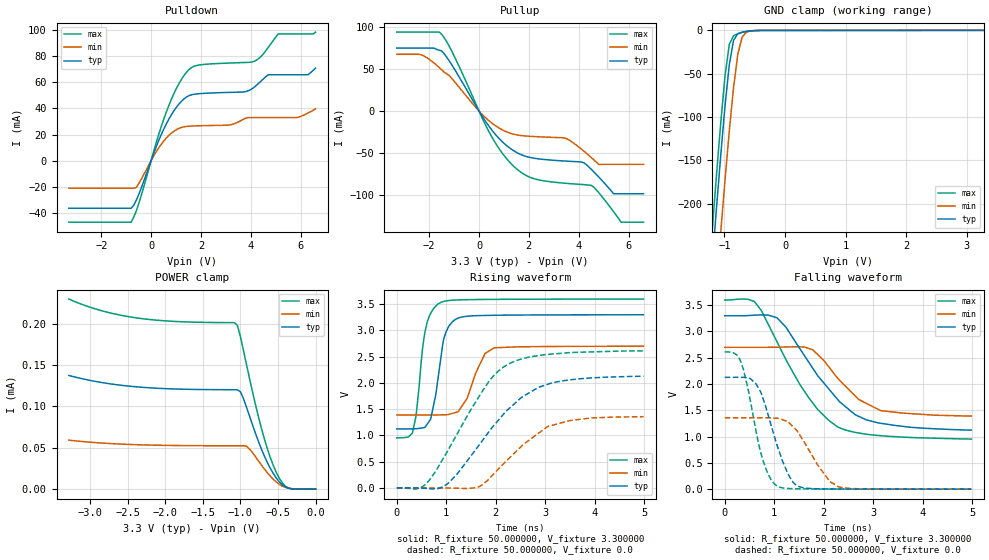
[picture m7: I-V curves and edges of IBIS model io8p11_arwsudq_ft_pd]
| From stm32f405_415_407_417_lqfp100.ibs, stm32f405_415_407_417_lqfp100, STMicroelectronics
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|   Model io8p11_arwsudq_ft_pd
[Model]  io8p11_arwsudq_ft_pd
Model_type I/O
Polarity   Non-Inverting
Enable   Active-Low
Vinl =   0.990000V
Vinh =   2.310000V
Vmeas =  1.650000V
Cref =   30.000000pF
Rref =   100.000000M
Vref =   0.0V
C_comp   2.905500pF   2.831700pF   2.987900pF
[Temperature Range]   25.000000   0.125000k   -40.000000
[Pullup Reference]   3.300000V   2.700000V   3.600000V
[Pulldown Reference]   0.0V   0.0V   0.0V
[POWER Clamp Reference]   3.300000V   2.700000V   3.600000V
[GND Clamp Reference]   0.0V   0.0V   0.0V
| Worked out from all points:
|   slope of the pulldown table from 0 to 0.495 V, typ, clamps not added: 20.9 ohm
|   slope of the pullup table from 0 to 0.495 V, typ, clamps not added: 22.6 ohm
|   GND clamp passes 1 mA (typ) near -0.62 V on its own axis
|   rising waveform, R_fixture 50.000000, V_fixture 3.300000: 20-80 % time 218ps typ, 339ps min, 191ps max; typ from 1.12 V to 3.3 V
|   rising waveform, R_fixture 50.000000, V_fixture 0.0: 20-80 % time 1.14ns typ, 963ps min, 998ps max; typ from 0 V to 2.13 V
|   falling waveform, R_fixture 50.000000, V_fixture 3.300000: 20-80 % time 1.07ns typ, 809ps min, 998ps max; typ from 3.3 V to 1.12 V
|   falling waveform, R_fixture 50.000000, V_fixture 0.0: 20-80 % time 435ps typ, 549ps min, 356ps max; typ from 2.13 V to 0 V
[Pulldown]
|Voltage   I(typ)   I(min)   I(max)
-3.3V     -36.4mA    -21.07mA   -47.09mA
-800mV    -36.4mA    -21.07mA   -47.09mA
-600mV    -30.5mA    -20.54mA   -38.69mA
700mV     31.4mA     19.11mA    41.71mA
1.2V      45.15mA    25.37mA    61.75mA
1.6V      50.35mA    26.5mA     71.06mA
3.1V      52.27mA    27.26mA    74.75mA
4.1V      55.71mA    33.04mA    75.8mA
4.7V      65.8mA     33.04mA    86.69mA
5.1V      65.8mA     33.04mA    97.03mA
6.3V      65.87mA    36.5mA     97.03mA
6.6V      70.92mA    39.71mA    98.48mA
[Pullup]
|Voltage   I(typ)   I(min)   I(max)
-3.3V     74.74mA    67.41mA    93.79mA
-2.3V     74.74mA    66.57mA    93.79mA
-1.5V     71.47mA    49mA       91.17mA
500mV     -22.07mA   -14mA      -30.03mA
1.6V      -50.64mA   -28.81mA   -70.96mA
3.5V      -59.53mA   -32.66mA   -85.92mA
4.2V      -61.44mA   -47.48mA   -87.46mA
4.5V      -69.08mA   -55.13mA   -88.39mA
4.8V      -78.24mA   -63.4mA    -96.88mA
5.4V      -98.3mA    -63.4mA    -119.6mA
5.7V      -98.3mA    -63.4mA    -132.1mA
6.6V      -98.3mA    -63.4mA    -132.1mA
[GND_clamp]
|Voltage   I(typ)   I(min)   I(max)
-3.3V     -2.316A    -2.395A    -2.288A
-1.2V     -266mA     -356.3mA   -228.4mA
-1.13V    -203.2mA   -293mA     -165.3mA
-1.06V    -142.7mA   -231.3mA   -105.2mA
-990mV    -86.51mA   -171.7mA   -51.78mA
-920mV    -39.3mA    -115.7mA   -15.95mA
-850mV    -11.38mA   -65.76mA   -6.112mA
-780mV    -3.842mA   -27.55mA   -3.895mA
-710mV    -2.102mA   -7.755mA   -2.396mA
-640mV    -1.159mA   -2.138mA   -1.234mA
-570mV    -535.1uA   -809uA     -490.4uA
3.28V     81.28uA    57.87uA    93.98uA
[POWER_clamp]
|Voltage   I(typ)   I(min)   I(max)
-3.28V    137.3uA    59.14uA    229.6uA
-2.36V    123.4uA    53.65uA    206.6uA
-1.08V    120.1uA    52.41uA    201.1uA
-1.04V    120uA      52.41uA    198uA
-1V       117.7uA    52.4uA     184.5uA
-920mV    99.46uA    51.91uA    151.2uA
-720mV    48.42uA    29.12uA    73.51uA
-600mV    24.82uA    15.47uA    37.72uA
-520mV    13.1uA     8.45uA     19.84uA
-440mV    5.058uA    3.61uA     7.276uA
-360mV    1.193uA    1.129uA    1.311uA
0V        0A         0A         0A
[Ramp]
| variable   typ   min   max
dV/dt_r  1.25970/1.13281n   0.80340/0.95414n   1.55957/0.99546n
dV/dt_f  1.27548/1.04691n   0.76788/0.78216n   1.56910/0.99071n
R_load = 50.000000
[Rising Waveform]
R_fixture= 50.000000
V_fixture= 3.300000
V_fixture_min= 2.700000
V_fixture_max= 3.600000
|time   V(typ)   V(min)   V(max)
0s        1.123V     1.391V     953.9mV
320.3ps   1.125V     1.391V     1.067V
390.4ps   1.127V     1.391V     1.376V
570.6ps   1.157V     1.391V     2.974V
690.7ps   1.339V     1.39V      3.336V
870.9ps   2.343V     1.392V     3.525V
961ps     2.875V     1.393V     3.556V
1.131ns   3.172V     1.422V     3.576V
1.972ns   3.289V     2.669V     3.592V
4.985ns   3.299V     2.699V     3.598V
[Rising Waveform]
R_fixture= 50.000000
V_fixture= 0.0
V_fixture_min= 0.0
V_fixture_max= 0.0
|time   V(typ)   V(min)   V(max)
0s        350.1uV    197.3uV    636.1uV
480.5ps   -3.156mV   140.7uV    1.812mV
670.7ps   -15.44mV   180.7uV    162.6mV
961ps     36.4mV     -1.108mV   596.4mV
1.662ns   816.2mV    23.19mV    1.742V
1.932ns   1.157V     239.5mV    2.111V
2.242ns   1.491V     538.8mV    2.353V
3.053ns   1.976V     1.171V     2.544V
3.934ns   2.095V     1.333V     2.591V
4.985ns   2.127V     1.357V     2.611V
[Falling Waveform]
R_fixture= 50.000000
V_fixture= 3.300000
V_fixture_min= 2.700000
V_fixture_max= 3.600000
|time   V(typ)   V(min)   V(max)
0s        3.299V     2.699V     3.598V
600.6ps   3.31V      2.699V     3.568V
740.7ps   3.314V     2.699V     3.396V
1.051ns   3.262V     2.7V       2.815V
1.512ns   2.683V     2.707V     2.003V
1.782ns   2.297V     2.649V     1.636V
2.282ns   1.705V     2.11V      1.184V
2.643ns   1.413V     1.768V     1.08V
3.153ns   1.253V     1.494V     1.018V
4.985ns   1.123V     1.391V     953.9mV
[Falling Waveform]
R_fixture= 50.000000
V_fixture= 0.0
V_fixture_min= 0.0
V_fixture_max= 0.0
|time   V(typ)   V(min)   V(max)
0s        2.127V     1.357V     2.611V
310.3ps   2.128V     1.357V     2.462V
460.5ps   2.116V     1.357V     1.958V
630.6ps   2.006V     1.357V     1.116V
850.9ps   1.499V     1.359V     344.2mV
1.061ns   827mV      1.349V     58.77mV
1.421ns   93.48mV    1.151V     7.635mV
1.882ns   7.615mV    455.1mV    3.277mV
2.292ns   3.253mV    47.99mV    2.244mV
4.985ns   350.1uV    197.3uV    636.1uV
